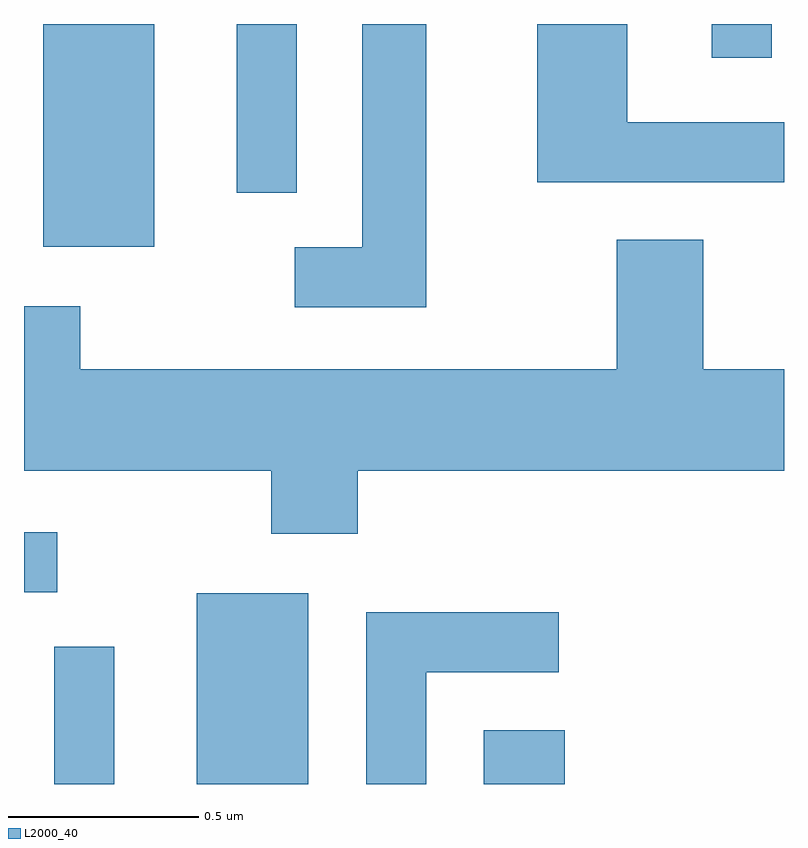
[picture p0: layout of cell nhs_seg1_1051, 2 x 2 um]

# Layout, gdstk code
import gdstk
lib = gdstk.Library(unit=1e-6, precision=1e-09)
def R(c, l, rs):  # rectangles x0, y0, x1, y1
    for r in rs: c.add(gdstk.rectangle(r[:2], r[2:], *l))
def P(c, l, *ps):  # polygons
    for p in ps: c.add(gdstk.Polygon(p, *l))
L2000_40 = (2000, 40)

nhs_seg1_1051 = lib.new_cell('nhs_seg1_1051')
R(nhs_seg1_1051, L2000_40, [(192.691,938.712,192.849,939.073), (193.066,938.712,193.359,939.214), (193.821,938.712,194.034,938.854), (192.611,939.216,192.698,939.374), (192.661,940.126,192.954,940.712), (193.171,940.268,193.329,940.712), (194.421,940.623,194.579,940.712)])
P(nhs_seg1_1051, L2000_40, [(193.669,940.712),(193.501,940.712),(193.501,940.124),(193.323,940.124),(193.323,939.966),(193.669,939.966)],
  [(194.611,940.454),(194.199,940.454),(194.199,940.712),(193.961,940.712),(193.961,940.296),(194.611,940.296)],
  [(193.489,939.536),(194.611,939.536),(194.611,939.804),(194.399,939.804),(194.399,940.144),(194.171,940.144),(194.171,939.804),(192.759,939.804),(192.759,939.969),(192.611,939.969),(192.611,939.536),(193.261,939.536),(193.261,939.371),(193.489,939.371)],
  [(193.669,939.006),(194.018,939.006),(194.018,939.164),(193.511,939.164),(193.511,938.712),(193.669,938.712)])

lib.write_gds('nhs_seg1_1051.gds')
